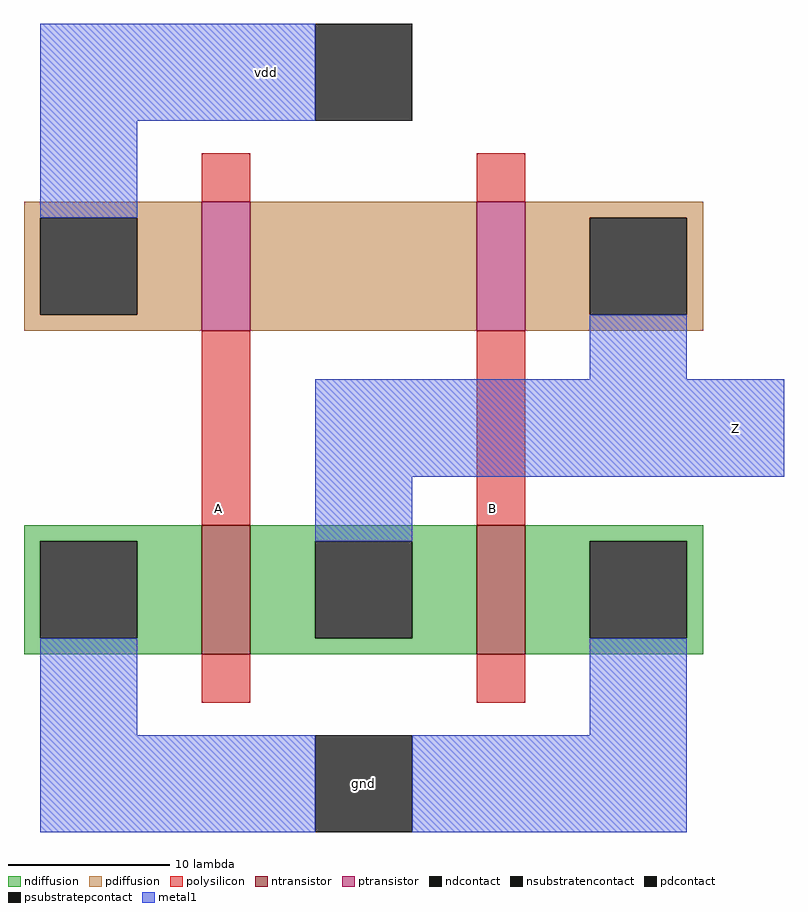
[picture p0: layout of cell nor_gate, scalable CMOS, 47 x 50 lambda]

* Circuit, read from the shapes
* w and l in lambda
.subckt nor_gate A B Z gnd vdd
M1 Z A gnd gnd nfet w=8 l=3
M2 gnd B Z gnd nfet w=8 l=3
M3 n1 A vdd vdd pfet w=8 l=3
M4 Z B n1 vdd pfet w=8 l=3
.ends

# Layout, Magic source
magic
tech scmos
<< ntransistor >>
rect 11 -20 14 -12
rect 28 -20 31 -12
<< ptransistor >>
rect 11 0 14 8
rect 28 0 31 8
<< ndiffusion >>
rect 0 -13 11 -12
rect 0 -19 1 -13
rect 7 -19 11 -13
rect 0 -20 11 -19
rect 14 -13 28 -12
rect 14 -19 18 -13
rect 24 -19 28 -13
rect 14 -20 28 -19
rect 31 -13 42 -12
rect 31 -19 35 -13
rect 41 -19 42 -13
rect 31 -20 42 -19
<< pdiffusion >>
rect 0 7 11 8
rect 0 1 1 7
rect 7 1 11 7
rect 0 0 11 1
rect 14 0 28 8
rect 31 7 42 8
rect 31 1 35 7
rect 41 1 42 7
rect 31 0 42 1
<< ndcontact >>
rect 1 -19 7 -13
rect 18 -19 24 -13
rect 35 -19 41 -13
<< pdcontact >>
rect 1 1 7 7
rect 35 1 41 7
<< psubstratepcontact >>
rect 18 -31 24 -25
<< nsubstratencontact >>
rect 18 13 24 19
<< polysilicon >>
rect 11 8 14 11
rect 28 8 31 11
rect 11 -12 14 0
rect 28 -12 31 0
rect 11 -23 14 -20
rect 28 -23 31 -20
<< metal1 >>
rect 1 13 18 19
rect 1 7 7 13
rect 35 -3 41 1
rect 18 -9 47 -3
rect 18 -13 24 -9
rect 1 -25 7 -19
rect 35 -25 41 -19
rect 1 -31 18 -25
rect 24 -31 41 -25
<< labels >>
rlabel metal1 15 16 15 16 5 vdd
rlabel psubstratepcontact 21 -28 21 -28 1 gnd
rlabel polysilicon 12 -11 12 -11 1 A
rlabel polysilicon 29 -11 29 -11 1 B
rlabel metal1 44 -6 44 -6 7 Z
<< end >>
